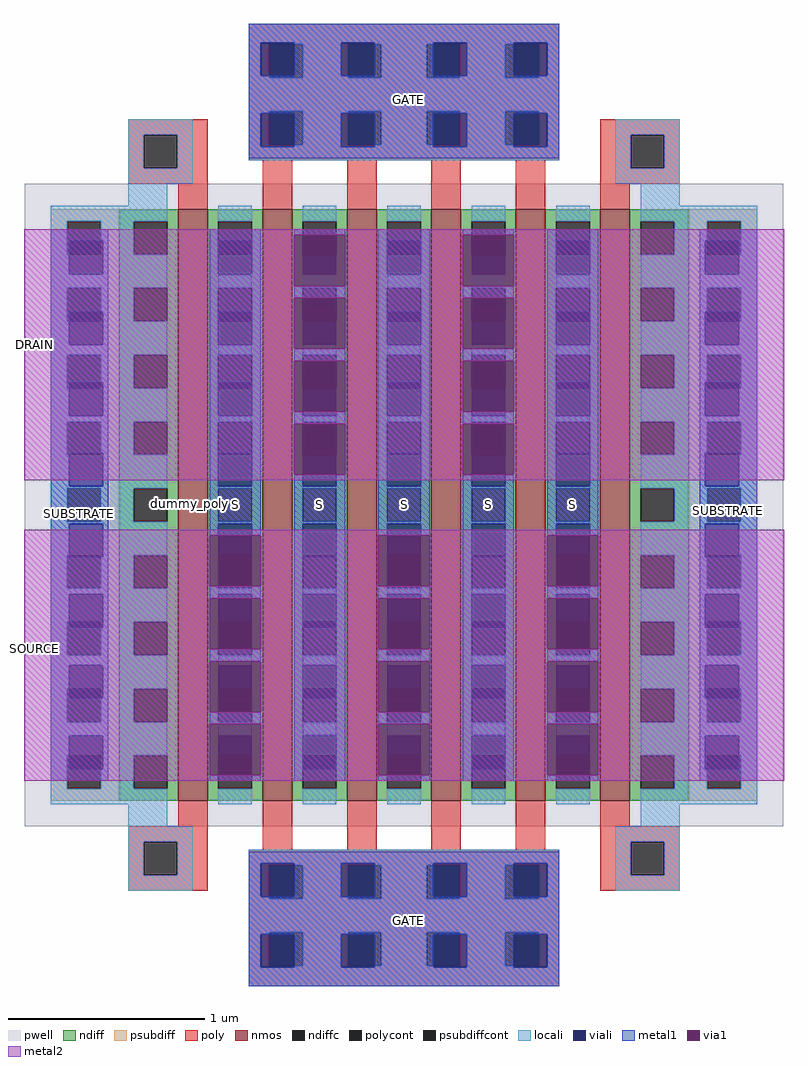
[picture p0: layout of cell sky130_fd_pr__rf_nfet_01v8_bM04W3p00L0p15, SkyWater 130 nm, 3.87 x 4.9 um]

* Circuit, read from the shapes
.subckt sky130_fd_pr__rf_nfet_01v8_bM04W3p00L0p15 DRAIN GATE SOURCE SUBSTRATE
XM1 SOURCE SUBSTRATE SUBSTRATE SUBSTRATE sky130_fd_pr__nfet_01v8 w=3.01 l=0.15 m=2
XM2 DRAIN GATE SOURCE SUBSTRATE sky130_fd_pr__nfet_01v8 w=3.01 l=0.15 m=4
.ends

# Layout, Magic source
magic
tech sky130A
magscale 1 2
<< pwell >>
rect 15 163 787 817
<< nmos >>
rect 171 189 201 791
rect 257 189 287 791
rect 343 189 373 791
rect 429 189 459 791
rect 515 189 545 791
rect 601 189 631 791
<< ndiff >>
rect 111 779 171 791
rect 111 745 126 779
rect 160 745 171 779
rect 111 711 171 745
rect 111 677 126 711
rect 160 677 171 711
rect 111 643 171 677
rect 111 609 126 643
rect 160 609 171 643
rect 111 575 171 609
rect 111 541 126 575
rect 160 541 171 575
rect 111 507 171 541
rect 111 473 126 507
rect 160 473 171 507
rect 111 439 171 473
rect 111 405 126 439
rect 160 405 171 439
rect 111 371 171 405
rect 111 337 126 371
rect 160 337 171 371
rect 111 303 171 337
rect 111 269 126 303
rect 160 269 171 303
rect 111 235 171 269
rect 111 201 126 235
rect 160 201 171 235
rect 111 189 171 201
rect 201 779 257 791
rect 201 745 212 779
rect 246 745 257 779
rect 201 711 257 745
rect 201 677 212 711
rect 246 677 257 711
rect 201 643 257 677
rect 201 609 212 643
rect 246 609 257 643
rect 201 575 257 609
rect 201 541 212 575
rect 246 541 257 575
rect 201 507 257 541
rect 201 473 212 507
rect 246 473 257 507
rect 201 439 257 473
rect 201 405 212 439
rect 246 405 257 439
rect 201 371 257 405
rect 201 337 212 371
rect 246 337 257 371
rect 201 303 257 337
rect 201 269 212 303
rect 246 269 257 303
rect 201 235 257 269
rect 201 201 212 235
rect 246 201 257 235
rect 201 189 257 201
rect 287 779 343 791
rect 287 745 298 779
rect 332 745 343 779
rect 287 711 343 745
rect 287 677 298 711
rect 332 677 343 711
rect 287 643 343 677
rect 287 609 298 643
rect 332 609 343 643
rect 287 575 343 609
rect 287 541 298 575
rect 332 541 343 575
rect 287 507 343 541
rect 287 473 298 507
rect 332 473 343 507
rect 287 439 343 473
rect 287 405 298 439
rect 332 405 343 439
rect 287 371 343 405
rect 287 337 298 371
rect 332 337 343 371
rect 287 303 343 337
rect 287 269 298 303
rect 332 269 343 303
rect 287 235 343 269
rect 287 201 298 235
rect 332 201 343 235
rect 287 189 343 201
rect 373 779 429 791
rect 373 745 384 779
rect 418 745 429 779
rect 373 711 429 745
rect 373 677 384 711
rect 418 677 429 711
rect 373 643 429 677
rect 373 609 384 643
rect 418 609 429 643
rect 373 575 429 609
rect 373 541 384 575
rect 418 541 429 575
rect 373 507 429 541
rect 373 473 384 507
rect 418 473 429 507
rect 373 439 429 473
rect 373 405 384 439
rect 418 405 429 439
rect 373 371 429 405
rect 373 337 384 371
rect 418 337 429 371
rect 373 303 429 337
rect 373 269 384 303
rect 418 269 429 303
rect 373 235 429 269
rect 373 201 384 235
rect 418 201 429 235
rect 373 189 429 201
rect 459 779 515 791
rect 459 745 470 779
rect 504 745 515 779
rect 459 711 515 745
rect 459 677 470 711
rect 504 677 515 711
rect 459 643 515 677
rect 459 609 470 643
rect 504 609 515 643
rect 459 575 515 609
rect 459 541 470 575
rect 504 541 515 575
rect 459 507 515 541
rect 459 473 470 507
rect 504 473 515 507
rect 459 439 515 473
rect 459 405 470 439
rect 504 405 515 439
rect 459 371 515 405
rect 459 337 470 371
rect 504 337 515 371
rect 459 303 515 337
rect 459 269 470 303
rect 504 269 515 303
rect 459 235 515 269
rect 459 201 470 235
rect 504 201 515 235
rect 459 189 515 201
rect 545 779 601 791
rect 545 745 556 779
rect 590 745 601 779
rect 545 711 601 745
rect 545 677 556 711
rect 590 677 601 711
rect 545 643 601 677
rect 545 609 556 643
rect 590 609 601 643
rect 545 575 601 609
rect 545 541 556 575
rect 590 541 601 575
rect 545 507 601 541
rect 545 473 556 507
rect 590 473 601 507
rect 545 439 601 473
rect 545 405 556 439
rect 590 405 601 439
rect 545 371 601 405
rect 545 337 556 371
rect 590 337 601 371
rect 545 303 601 337
rect 545 269 556 303
rect 590 269 601 303
rect 545 235 601 269
rect 545 201 556 235
rect 590 201 601 235
rect 545 189 601 201
rect 631 779 691 791
rect 631 745 642 779
rect 676 745 691 779
rect 631 711 691 745
rect 631 677 642 711
rect 676 677 691 711
rect 631 643 691 677
rect 631 609 642 643
rect 676 609 691 643
rect 631 575 691 609
rect 631 541 642 575
rect 676 541 691 575
rect 631 507 691 541
rect 631 473 642 507
rect 676 473 691 507
rect 631 439 691 473
rect 631 405 642 439
rect 676 405 691 439
rect 631 371 691 405
rect 631 337 642 371
rect 676 337 691 371
rect 631 303 691 337
rect 631 269 642 303
rect 676 269 691 303
rect 631 235 691 269
rect 631 201 642 235
rect 676 201 691 235
rect 631 189 691 201
<< ndiffc >>
rect 126 745 160 779
rect 126 677 160 711
rect 126 609 160 643
rect 126 541 160 575
rect 126 473 160 507
rect 126 405 160 439
rect 126 337 160 371
rect 126 269 160 303
rect 126 201 160 235
rect 212 745 246 779
rect 212 677 246 711
rect 212 609 246 643
rect 212 541 246 575
rect 212 473 246 507
rect 212 405 246 439
rect 212 337 246 371
rect 212 269 246 303
rect 212 201 246 235
rect 298 745 332 779
rect 298 677 332 711
rect 298 609 332 643
rect 298 541 332 575
rect 298 473 332 507
rect 298 405 332 439
rect 298 337 332 371
rect 298 269 332 303
rect 298 201 332 235
rect 384 745 418 779
rect 384 677 418 711
rect 384 609 418 643
rect 384 541 418 575
rect 384 473 418 507
rect 384 405 418 439
rect 384 337 418 371
rect 384 269 418 303
rect 384 201 418 235
rect 470 745 504 779
rect 470 677 504 711
rect 470 609 504 643
rect 470 541 504 575
rect 470 473 504 507
rect 470 405 504 439
rect 470 337 504 371
rect 470 269 504 303
rect 470 201 504 235
rect 556 745 590 779
rect 556 677 590 711
rect 556 609 590 643
rect 556 541 590 575
rect 556 473 590 507
rect 556 405 590 439
rect 556 337 590 371
rect 556 269 590 303
rect 556 201 590 235
rect 642 745 676 779
rect 642 677 676 711
rect 642 609 676 643
rect 642 541 676 575
rect 642 473 676 507
rect 642 405 676 439
rect 642 337 676 371
rect 642 269 676 303
rect 642 201 676 235
<< psubdiff >>
rect 41 779 111 791
rect 41 745 58 779
rect 92 745 111 779
rect 41 711 111 745
rect 41 677 58 711
rect 92 677 111 711
rect 41 643 111 677
rect 41 609 58 643
rect 92 609 111 643
rect 41 575 111 609
rect 41 541 58 575
rect 92 541 111 575
rect 41 507 111 541
rect 41 473 58 507
rect 92 473 111 507
rect 41 439 111 473
rect 41 405 58 439
rect 92 405 111 439
rect 41 371 111 405
rect 41 337 58 371
rect 92 337 111 371
rect 41 303 111 337
rect 41 269 58 303
rect 92 269 111 303
rect 41 235 111 269
rect 41 201 58 235
rect 92 201 111 235
rect 41 189 111 201
rect 691 779 761 791
rect 691 745 710 779
rect 744 745 761 779
rect 691 711 761 745
rect 691 677 710 711
rect 744 677 761 711
rect 691 643 761 677
rect 691 609 710 643
rect 744 609 761 643
rect 691 575 761 609
rect 691 541 710 575
rect 744 541 761 575
rect 691 507 761 541
rect 691 473 710 507
rect 744 473 761 507
rect 691 439 761 473
rect 691 405 710 439
rect 744 405 761 439
rect 691 371 761 405
rect 691 337 710 371
rect 744 337 761 371
rect 691 303 761 337
rect 691 269 710 303
rect 744 269 761 303
rect 691 235 761 269
rect 691 201 710 235
rect 744 201 761 235
rect 691 189 761 201
<< psubdiffcont >>
rect 58 745 92 779
rect 58 677 92 711
rect 58 609 92 643
rect 58 541 92 575
rect 58 473 92 507
rect 58 405 92 439
rect 58 337 92 371
rect 58 269 92 303
rect 58 201 92 235
rect 710 745 744 779
rect 710 677 744 711
rect 710 609 744 643
rect 710 541 744 575
rect 710 473 744 507
rect 710 405 744 439
rect 710 337 744 371
rect 710 269 744 303
rect 710 201 744 235
<< poly >>
rect 243 959 559 980
rect 243 925 264 959
rect 298 925 344 959
rect 378 925 424 959
rect 458 925 504 959
rect 538 925 559 959
rect 243 891 559 925
rect 120 867 201 883
rect 120 833 136 867
rect 170 833 201 867
rect 243 857 264 891
rect 298 857 344 891
rect 378 857 424 891
rect 458 857 504 891
rect 538 857 559 891
rect 243 841 559 857
rect 601 867 682 883
rect 120 817 201 833
rect 171 791 201 817
rect 257 791 287 841
rect 343 791 373 841
rect 429 791 459 841
rect 515 791 545 841
rect 601 833 632 867
rect 666 833 682 867
rect 601 817 682 833
rect 601 791 631 817
rect 171 163 201 189
rect 120 147 201 163
rect 120 113 136 147
rect 170 113 201 147
rect 257 139 287 189
rect 343 139 373 189
rect 429 139 459 189
rect 515 139 545 189
rect 601 163 631 189
rect 601 147 682 163
rect 120 97 201 113
rect 243 123 559 139
rect 243 89 264 123
rect 298 89 344 123
rect 378 89 424 123
rect 458 89 504 123
rect 538 89 559 123
rect 601 113 632 147
rect 666 113 682 147
rect 601 97 682 113
rect 243 55 559 89
rect 243 21 264 55
rect 298 21 344 55
rect 378 21 424 55
rect 458 21 504 55
rect 538 21 559 55
rect 243 0 559 21
<< polycont >>
rect 264 925 298 959
rect 344 925 378 959
rect 424 925 458 959
rect 504 925 538 959
rect 136 833 170 867
rect 264 857 298 891
rect 344 857 378 891
rect 424 857 458 891
rect 504 857 538 891
rect 632 833 666 867
rect 136 113 170 147
rect 264 89 298 123
rect 344 89 378 123
rect 424 89 458 123
rect 504 89 538 123
rect 632 113 666 147
rect 264 21 298 55
rect 344 21 378 55
rect 424 21 458 55
rect 504 21 538 55
<< locali >>
rect 243 961 559 980
rect 243 927 255 961
rect 289 959 337 961
rect 371 959 431 961
rect 465 959 513 961
rect 298 927 337 959
rect 243 925 264 927
rect 298 925 344 927
rect 378 925 424 959
rect 465 927 504 959
rect 547 927 559 961
rect 458 925 504 927
rect 538 925 559 927
rect 243 891 559 925
rect 243 889 264 891
rect 298 889 344 891
rect 120 867 186 883
rect 120 833 136 867
rect 170 833 186 867
rect 243 855 255 889
rect 298 857 337 889
rect 378 857 424 891
rect 458 889 504 891
rect 538 889 559 891
rect 465 857 504 889
rect 289 855 337 857
rect 371 855 431 857
rect 465 855 513 857
rect 547 855 559 889
rect 243 841 559 855
rect 616 867 682 883
rect 120 817 186 833
rect 616 833 632 867
rect 666 833 682 867
rect 616 817 682 833
rect 120 795 160 817
rect 642 795 682 817
rect 41 779 160 795
rect 41 745 58 779
rect 92 759 126 779
rect 94 745 126 759
rect 41 725 60 745
rect 94 725 160 745
rect 41 711 160 725
rect 41 677 58 711
rect 92 687 126 711
rect 94 677 126 687
rect 41 653 60 677
rect 94 653 160 677
rect 41 643 160 653
rect 41 609 58 643
rect 92 615 126 643
rect 94 609 126 615
rect 41 581 60 609
rect 94 581 160 609
rect 41 575 160 581
rect 41 541 58 575
rect 92 543 126 575
rect 94 541 126 543
rect 41 509 60 541
rect 94 509 160 541
rect 41 507 160 509
rect 41 473 58 507
rect 92 473 126 507
rect 41 471 160 473
rect 41 439 60 471
rect 94 439 160 471
rect 41 405 58 439
rect 94 437 126 439
rect 92 405 126 437
rect 41 399 160 405
rect 41 371 60 399
rect 94 371 160 399
rect 41 337 58 371
rect 94 365 126 371
rect 92 337 126 365
rect 41 327 160 337
rect 41 303 60 327
rect 94 303 160 327
rect 41 269 58 303
rect 94 293 126 303
rect 92 269 126 293
rect 41 255 160 269
rect 41 235 60 255
rect 94 235 160 255
rect 41 201 58 235
rect 94 221 126 235
rect 92 201 126 221
rect 41 185 160 201
rect 212 779 246 795
rect 212 711 246 725
rect 212 643 246 653
rect 212 575 246 581
rect 212 507 246 509
rect 212 471 246 473
rect 212 399 246 405
rect 212 327 246 337
rect 212 255 246 269
rect 212 185 246 201
rect 298 779 332 795
rect 298 711 332 725
rect 298 643 332 653
rect 298 575 332 581
rect 298 507 332 509
rect 298 471 332 473
rect 298 399 332 405
rect 298 327 332 337
rect 298 255 332 269
rect 298 185 332 201
rect 384 779 418 795
rect 384 711 418 725
rect 384 643 418 653
rect 384 575 418 581
rect 384 507 418 509
rect 384 471 418 473
rect 384 399 418 405
rect 384 327 418 337
rect 384 255 418 269
rect 384 185 418 201
rect 470 779 504 795
rect 470 711 504 725
rect 470 643 504 653
rect 470 575 504 581
rect 470 507 504 509
rect 470 471 504 473
rect 470 399 504 405
rect 470 327 504 337
rect 470 255 504 269
rect 470 185 504 201
rect 556 779 590 795
rect 556 711 590 725
rect 556 643 590 653
rect 556 575 590 581
rect 556 507 590 509
rect 556 471 590 473
rect 556 399 590 405
rect 556 327 590 337
rect 556 255 590 269
rect 556 185 590 201
rect 642 779 761 795
rect 676 759 710 779
rect 676 745 708 759
rect 744 745 761 779
rect 642 725 708 745
rect 742 725 761 745
rect 642 711 761 725
rect 676 687 710 711
rect 676 677 708 687
rect 744 677 761 711
rect 642 653 708 677
rect 742 653 761 677
rect 642 643 761 653
rect 676 615 710 643
rect 676 609 708 615
rect 744 609 761 643
rect 642 581 708 609
rect 742 581 761 609
rect 642 575 761 581
rect 676 543 710 575
rect 676 541 708 543
rect 744 541 761 575
rect 642 509 708 541
rect 742 509 761 541
rect 642 507 761 509
rect 676 473 710 507
rect 744 473 761 507
rect 642 471 761 473
rect 642 439 708 471
rect 742 439 761 471
rect 676 437 708 439
rect 676 405 710 437
rect 744 405 761 439
rect 642 399 761 405
rect 642 371 708 399
rect 742 371 761 399
rect 676 365 708 371
rect 676 337 710 365
rect 744 337 761 371
rect 642 327 761 337
rect 642 303 708 327
rect 742 303 761 327
rect 676 293 708 303
rect 676 269 710 293
rect 744 269 761 303
rect 642 255 761 269
rect 642 235 708 255
rect 742 235 761 255
rect 676 221 708 235
rect 676 201 710 221
rect 744 201 761 235
rect 642 185 761 201
rect 120 163 160 185
rect 642 163 682 185
rect 120 147 186 163
rect 120 113 136 147
rect 170 113 186 147
rect 616 147 682 163
rect 120 97 186 113
rect 243 125 559 139
rect 243 91 255 125
rect 289 123 337 125
rect 371 123 431 125
rect 465 123 513 125
rect 298 91 337 123
rect 243 89 264 91
rect 298 89 344 91
rect 378 89 424 123
rect 465 91 504 123
rect 547 91 559 125
rect 616 113 632 147
rect 666 113 682 147
rect 616 97 682 113
rect 458 89 504 91
rect 538 89 559 91
rect 243 55 559 89
rect 243 53 264 55
rect 298 53 344 55
rect 243 19 255 53
rect 298 21 337 53
rect 378 21 424 55
rect 458 53 504 55
rect 538 53 559 55
rect 465 21 504 53
rect 289 19 337 21
rect 371 19 431 21
rect 465 19 513 21
rect 547 19 559 53
rect 243 0 559 19
<< viali >>
rect 255 959 289 961
rect 337 959 371 961
rect 431 959 465 961
rect 513 959 547 961
rect 255 927 264 959
rect 264 927 289 959
rect 337 927 344 959
rect 344 927 371 959
rect 431 927 458 959
rect 458 927 465 959
rect 513 927 538 959
rect 538 927 547 959
rect 255 857 264 889
rect 264 857 289 889
rect 337 857 344 889
rect 344 857 371 889
rect 431 857 458 889
rect 458 857 465 889
rect 513 857 538 889
rect 538 857 547 889
rect 255 855 289 857
rect 337 855 371 857
rect 431 855 465 857
rect 513 855 547 857
rect 60 745 92 759
rect 92 745 94 759
rect 60 725 94 745
rect 60 677 92 687
rect 92 677 94 687
rect 60 653 94 677
rect 60 609 92 615
rect 92 609 94 615
rect 60 581 94 609
rect 60 541 92 543
rect 92 541 94 543
rect 60 509 94 541
rect 60 439 94 471
rect 60 437 92 439
rect 92 437 94 439
rect 60 371 94 399
rect 60 365 92 371
rect 92 365 94 371
rect 60 303 94 327
rect 60 293 92 303
rect 92 293 94 303
rect 60 235 94 255
rect 60 221 92 235
rect 92 221 94 235
rect 212 745 246 759
rect 212 725 246 745
rect 212 677 246 687
rect 212 653 246 677
rect 212 609 246 615
rect 212 581 246 609
rect 212 541 246 543
rect 212 509 246 541
rect 212 439 246 471
rect 212 437 246 439
rect 212 371 246 399
rect 212 365 246 371
rect 212 303 246 327
rect 212 293 246 303
rect 212 235 246 255
rect 212 221 246 235
rect 298 745 332 759
rect 298 725 332 745
rect 298 677 332 687
rect 298 653 332 677
rect 298 609 332 615
rect 298 581 332 609
rect 298 541 332 543
rect 298 509 332 541
rect 298 439 332 471
rect 298 437 332 439
rect 298 371 332 399
rect 298 365 332 371
rect 298 303 332 327
rect 298 293 332 303
rect 298 235 332 255
rect 298 221 332 235
rect 384 745 418 759
rect 384 725 418 745
rect 384 677 418 687
rect 384 653 418 677
rect 384 609 418 615
rect 384 581 418 609
rect 384 541 418 543
rect 384 509 418 541
rect 384 439 418 471
rect 384 437 418 439
rect 384 371 418 399
rect 384 365 418 371
rect 384 303 418 327
rect 384 293 418 303
rect 384 235 418 255
rect 384 221 418 235
rect 470 745 504 759
rect 470 725 504 745
rect 470 677 504 687
rect 470 653 504 677
rect 470 609 504 615
rect 470 581 504 609
rect 470 541 504 543
rect 470 509 504 541
rect 470 439 504 471
rect 470 437 504 439
rect 470 371 504 399
rect 470 365 504 371
rect 470 303 504 327
rect 470 293 504 303
rect 470 235 504 255
rect 470 221 504 235
rect 556 745 590 759
rect 556 725 590 745
rect 556 677 590 687
rect 556 653 590 677
rect 556 609 590 615
rect 556 581 590 609
rect 556 541 590 543
rect 556 509 590 541
rect 556 439 590 471
rect 556 437 590 439
rect 556 371 590 399
rect 556 365 590 371
rect 556 303 590 327
rect 556 293 590 303
rect 556 235 590 255
rect 556 221 590 235
rect 708 745 710 759
rect 710 745 742 759
rect 708 725 742 745
rect 708 677 710 687
rect 710 677 742 687
rect 708 653 742 677
rect 708 609 710 615
rect 710 609 742 615
rect 708 581 742 609
rect 708 541 710 543
rect 710 541 742 543
rect 708 509 742 541
rect 708 439 742 471
rect 708 437 710 439
rect 710 437 742 439
rect 708 371 742 399
rect 708 365 710 371
rect 710 365 742 371
rect 708 303 742 327
rect 708 293 710 303
rect 710 293 742 303
rect 708 235 742 255
rect 708 221 710 235
rect 710 221 742 235
rect 255 123 289 125
rect 337 123 371 125
rect 431 123 465 125
rect 513 123 547 125
rect 255 91 264 123
rect 264 91 289 123
rect 337 91 344 123
rect 344 91 371 123
rect 431 91 458 123
rect 458 91 465 123
rect 513 91 538 123
rect 538 91 547 123
rect 255 21 264 53
rect 264 21 289 53
rect 337 21 344 53
rect 344 21 371 53
rect 431 21 458 53
rect 458 21 465 53
rect 513 21 538 53
rect 538 21 547 53
rect 255 19 289 21
rect 337 19 371 21
rect 431 19 465 21
rect 513 19 547 21
<< metal1 >>
rect 243 961 559 980
rect 243 927 255 961
rect 289 927 337 961
rect 371 927 431 961
rect 465 927 513 961
rect 547 927 559 961
rect 243 889 559 927
rect 243 855 255 889
rect 289 855 337 889
rect 371 855 431 889
rect 465 855 513 889
rect 547 855 559 889
rect 243 843 559 855
rect 41 759 100 771
rect 41 725 60 759
rect 94 725 100 759
rect 41 687 100 725
rect 41 653 60 687
rect 94 653 100 687
rect 41 615 100 653
rect 41 581 60 615
rect 94 581 100 615
rect 41 543 100 581
rect 41 509 60 543
rect 94 509 100 543
rect 41 471 100 509
rect 41 437 60 471
rect 94 437 100 471
rect 41 399 100 437
rect 41 365 60 399
rect 94 365 100 399
rect 41 327 100 365
rect 41 293 60 327
rect 94 293 100 327
rect 41 255 100 293
rect 41 221 60 255
rect 94 221 100 255
rect 41 209 100 221
rect 203 759 255 771
rect 203 725 212 759
rect 246 725 255 759
rect 203 687 255 725
rect 203 653 212 687
rect 246 653 255 687
rect 203 615 255 653
rect 203 581 212 615
rect 246 581 255 615
rect 203 543 255 581
rect 203 509 212 543
rect 246 509 255 543
rect 203 471 255 509
rect 203 459 212 471
rect 246 459 255 471
rect 203 399 255 407
rect 203 395 212 399
rect 246 395 255 399
rect 203 331 255 343
rect 203 267 255 279
rect 203 209 255 215
rect 289 765 341 771
rect 289 701 341 713
rect 289 637 341 649
rect 289 581 298 585
rect 332 581 341 585
rect 289 573 341 581
rect 289 509 298 521
rect 332 509 341 521
rect 289 471 341 509
rect 289 437 298 471
rect 332 437 341 471
rect 289 399 341 437
rect 289 365 298 399
rect 332 365 341 399
rect 289 327 341 365
rect 289 293 298 327
rect 332 293 341 327
rect 289 255 341 293
rect 289 221 298 255
rect 332 221 341 255
rect 289 209 341 221
rect 375 759 427 771
rect 375 725 384 759
rect 418 725 427 759
rect 375 687 427 725
rect 375 653 384 687
rect 418 653 427 687
rect 375 615 427 653
rect 375 581 384 615
rect 418 581 427 615
rect 375 543 427 581
rect 375 509 384 543
rect 418 509 427 543
rect 375 471 427 509
rect 375 459 384 471
rect 418 459 427 471
rect 375 399 427 407
rect 375 395 384 399
rect 418 395 427 399
rect 375 331 427 343
rect 375 267 427 279
rect 375 209 427 215
rect 461 765 513 771
rect 461 701 513 713
rect 461 637 513 649
rect 461 581 470 585
rect 504 581 513 585
rect 461 573 513 581
rect 461 509 470 521
rect 504 509 513 521
rect 461 471 513 509
rect 461 437 470 471
rect 504 437 513 471
rect 461 399 513 437
rect 461 365 470 399
rect 504 365 513 399
rect 461 327 513 365
rect 461 293 470 327
rect 504 293 513 327
rect 461 255 513 293
rect 461 221 470 255
rect 504 221 513 255
rect 461 209 513 221
rect 547 759 599 771
rect 547 725 556 759
rect 590 725 599 759
rect 547 687 599 725
rect 547 653 556 687
rect 590 653 599 687
rect 547 615 599 653
rect 547 581 556 615
rect 590 581 599 615
rect 547 543 599 581
rect 547 509 556 543
rect 590 509 599 543
rect 547 471 599 509
rect 547 459 556 471
rect 590 459 599 471
rect 547 399 599 407
rect 547 395 556 399
rect 590 395 599 399
rect 547 331 599 343
rect 547 267 599 279
rect 547 209 599 215
rect 702 759 761 771
rect 702 725 708 759
rect 742 725 761 759
rect 702 687 761 725
rect 702 653 708 687
rect 742 653 761 687
rect 702 615 761 653
rect 702 581 708 615
rect 742 581 761 615
rect 702 543 761 581
rect 702 509 708 543
rect 742 509 761 543
rect 702 471 761 509
rect 702 437 708 471
rect 742 437 761 471
rect 702 399 761 437
rect 702 365 708 399
rect 742 365 761 399
rect 702 327 761 365
rect 702 293 708 327
rect 742 293 761 327
rect 702 255 761 293
rect 702 221 708 255
rect 742 221 761 255
rect 702 209 761 221
rect 243 125 559 137
rect 243 91 255 125
rect 289 91 337 125
rect 371 91 431 125
rect 465 91 513 125
rect 547 91 559 125
rect 243 53 559 91
rect 243 19 255 53
rect 289 19 337 53
rect 371 19 431 53
rect 465 19 513 53
rect 547 19 559 53
rect 243 0 559 19
<< via1 >>
rect 203 437 212 459
rect 212 437 246 459
rect 246 437 255 459
rect 203 407 255 437
rect 203 365 212 395
rect 212 365 246 395
rect 246 365 255 395
rect 203 343 255 365
rect 203 327 255 331
rect 203 293 212 327
rect 212 293 246 327
rect 246 293 255 327
rect 203 279 255 293
rect 203 255 255 267
rect 203 221 212 255
rect 212 221 246 255
rect 246 221 255 255
rect 203 215 255 221
rect 289 759 341 765
rect 289 725 298 759
rect 298 725 332 759
rect 332 725 341 759
rect 289 713 341 725
rect 289 687 341 701
rect 289 653 298 687
rect 298 653 332 687
rect 332 653 341 687
rect 289 649 341 653
rect 289 615 341 637
rect 289 585 298 615
rect 298 585 332 615
rect 332 585 341 615
rect 289 543 341 573
rect 289 521 298 543
rect 298 521 332 543
rect 332 521 341 543
rect 375 437 384 459
rect 384 437 418 459
rect 418 437 427 459
rect 375 407 427 437
rect 375 365 384 395
rect 384 365 418 395
rect 418 365 427 395
rect 375 343 427 365
rect 375 327 427 331
rect 375 293 384 327
rect 384 293 418 327
rect 418 293 427 327
rect 375 279 427 293
rect 375 255 427 267
rect 375 221 384 255
rect 384 221 418 255
rect 418 221 427 255
rect 375 215 427 221
rect 461 759 513 765
rect 461 725 470 759
rect 470 725 504 759
rect 504 725 513 759
rect 461 713 513 725
rect 461 687 513 701
rect 461 653 470 687
rect 470 653 504 687
rect 504 653 513 687
rect 461 649 513 653
rect 461 615 513 637
rect 461 585 470 615
rect 470 585 504 615
rect 504 585 513 615
rect 461 543 513 573
rect 461 521 470 543
rect 470 521 504 543
rect 504 521 513 543
rect 547 437 556 459
rect 556 437 590 459
rect 590 437 599 459
rect 547 407 599 437
rect 547 365 556 395
rect 556 365 590 395
rect 590 365 599 395
rect 547 343 599 365
rect 547 327 599 331
rect 547 293 556 327
rect 556 293 590 327
rect 590 293 599 327
rect 547 279 599 293
rect 547 255 599 267
rect 547 221 556 255
rect 556 221 590 255
rect 590 221 599 255
rect 547 215 599 221
<< metal2 >>
rect 14 765 788 771
rect 14 713 289 765
rect 341 713 461 765
rect 513 713 788 765
rect 14 701 788 713
rect 14 649 289 701
rect 341 649 461 701
rect 513 649 788 701
rect 14 637 788 649
rect 14 585 289 637
rect 341 585 461 637
rect 513 585 788 637
rect 14 573 788 585
rect 14 521 289 573
rect 341 521 461 573
rect 513 521 788 573
rect 14 515 788 521
rect 14 459 788 465
rect 14 407 203 459
rect 255 407 375 459
rect 427 407 547 459
rect 599 407 788 459
rect 14 395 788 407
rect 14 343 203 395
rect 255 343 375 395
rect 427 343 547 395
rect 599 343 788 395
rect 14 331 788 343
rect 14 279 203 331
rect 255 279 375 331
rect 427 279 547 331
rect 599 279 788 331
rect 14 267 788 279
rect 14 215 203 267
rect 255 215 375 267
rect 427 215 547 267
rect 599 215 788 267
rect 14 209 788 215
<< labels >>
flabel metal1 s 301 878 511 928 0 FreeSans 200 0 0 0 GATE
port 2 nsew
flabel metal1 s 301 42 511 92 0 FreeSans 200 0 0 0 GATE
port 2 nsew
flabel metal1 s 41 466 100 496 0 FreeSans 200 90 0 0 SUBSTRATE
port 4 nsew
flabel metal1 s 702 469 761 499 0 FreeSans 200 90 0 0 SUBSTRATE
port 4 nsew
flabel comment s 229 490 229 490 0 FreeSans 300 0 0 0 S
flabel comment s 315 490 315 490 0 FreeSans 300 0 0 0 S
flabel comment s 401 490 401 490 0 FreeSans 300 0 0 0 S
flabel comment s 487 490 487 490 0 FreeSans 300 0 0 0 S
flabel comment s 229 490 229 490 0 FreeSans 300 0 0 0 S
flabel comment s 315 490 315 490 0 FreeSans 300 0 0 0 D
flabel comment s 401 490 401 490 0 FreeSans 300 0 0 0 S
flabel comment s 487 490 487 490 0 FreeSans 300 0 0 0 D
flabel comment s 573 490 573 490 0 FreeSans 300 0 0 0 S
flabel comment s 183 492 183 492 0 FreeSans 180 90 0 0 dummy_poly
flabel comment s 614 487 614 487 0 FreeSans 180 90 0 0 dummy_poly
flabel metal2 s 14 280 35 408 7 FreeSans 300 180 0 0 SOURCE
port 3 nsew
flabel metal2 s 14 589 35 717 7 FreeSans 300 180 0 0 DRAIN
port 1 nsew
<< properties >>
string GDS_FILE $PDKPATH/libs.ref/sky130_fd_pr/gds/sky130_fd_pr.gds
string GDS_END 5722532
string GDS_START 5702218
<< end >>
